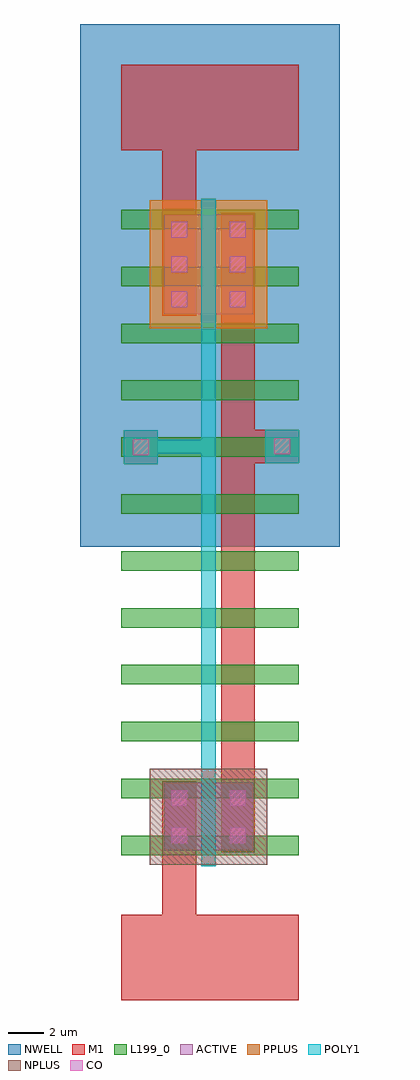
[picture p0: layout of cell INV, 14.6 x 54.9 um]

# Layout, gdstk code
from math import pi, radians
import gdstk
lib = gdstk.Library(unit=1e-6, precision=1e-08)
def R(c, l, rs):  # rectangles x0, y0, x1, y1
    for r in rs: c.add(gdstk.rectangle(r[:2], r[2:], *l))
def A(c, l, x, y, w, h, nx, ny, dx, dy):  # array of equal rectangles
    R(c, l, [(x+i*dx, y+j*dy, x+i*dx+w, y+j*dy+h) for i in range(nx) for j in range(ny)])
ACTIVE = (10, 0)
NWELL = (20, 0)
NPLUS = (25, 0)
PPLUS = (26, 0)
POLY1 = (30, 0)
CO = (35, 0)
M1 = (40, 0)
L199_0 = (199, 0)

pmos_1 = lib.new_cell('pMOS$1')
R(pmos_1, ACTIVE, [(-2.5,-2.8,-0.8,2.8), (-1.4,-2.8,1.4,2.8), (0.8,-2.8,2.5,2.8)])
R(pmos_1, NWELL, [(-4.9,-5.2,4.9,5.2)])
R(pmos_1, PPLUS, [(-3.3,-3.6,3.3,3.6)])
R(pmos_1, POLY1, [(-0.4,-3.7,0.4,3.7)])
A(pmos_1, CO, -2.1, -2.4, 0.9, 0.9, 1, 3, 0, 1.95)
A(pmos_1, CO, 1.2, -2.4, 0.9, 0.9, 1, 3, 0, 1.95)
R(pmos_1, M1, [(-2.6,-2.9,-0.7,2.9), (0.7,-2.9,2.6,2.9)])

nmos_1 = lib.new_cell('nMOS$1')
R(nmos_1, ACTIVE, [(-2.5,-1.9,-0.8,1.9), (-1.4,-1.9,1.4,1.9), (0.8,-1.9,2.5,1.9)])
R(nmos_1, NPLUS, [(-3.3,-2.7,3.3,2.7)])
R(nmos_1, POLY1, [(-0.4,-2.8,0.4,2.8)])
R(nmos_1, CO, [(-2.1,-1.5,-1.2,-0.6), (1.2,-1.5,2.1,-0.6), (-2.1,0.6,-1.2,1.5), (1.2,0.6,2.1,1.5)])
R(nmos_1, M1, [(-2.6,-2,-0.7,2), (0.7,-2,2.6,2)])

contactpoly1 = lib.new_cell('ContactPoly1')
R(contactpoly1, POLY1, [(-0.95,-0.95,0.95,0.95)])
R(contactpoly1, CO, [(-0.45,-0.45,0.45,0.45)])
R(contactpoly1, M1, [(-0.95,-0.95,0.95,0.95)])

rails = lib.new_cell('RAILS')
R(rails, NWELL, [(-7.3,-0.8,7.3,28.6)])
R(rails, M1, [(-5,-26.3,5,-21.5), (-5,21.5,5,26.3)])
A(rails, L199_0, -5, -18.15, 10, 1.1, 1, 12, 0, 3.2)

inv = lib.new_cell('INV')
R(inv, POLY1, [(3.33,-29.11,4.13,-2.37), (0.08,-10.5,4.13,-9.7)])
R(inv, M1, [(1.13,-37.46,3.03,-30.98), (4.43,-28.97,6.33,-0.17), (4.43,-11.03,8.83,-9.13), (1.13,-0.91,3.03,8.36)])
inv.add(gdstk.Reference(pmos_1, (3.73,0.16)))
inv.add(gdstk.Reference(nmos_1, (3.73,-30.91)))
inv.add(gdstk.Reference(contactpoly1, (-0.08,-10.13)))
inv.add(gdstk.Reference(rails, (3.81,-14.92)))
inv.add(gdstk.Reference(contactpoly1, (7.88,-10.08), rotation=pi/2))

lib.write_gds('INV.gds')
